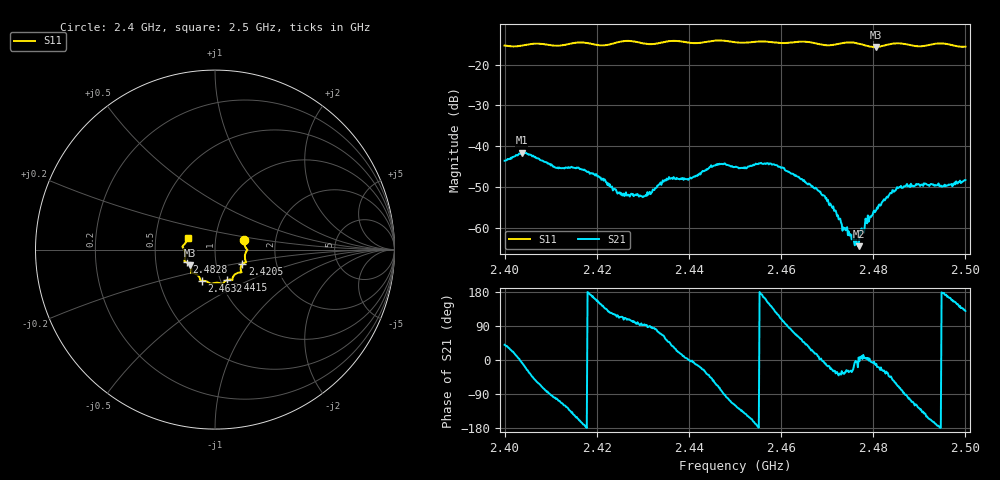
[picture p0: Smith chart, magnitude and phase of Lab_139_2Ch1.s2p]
# Hz S RI R 50
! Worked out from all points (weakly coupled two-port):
!   601 points, 2.4 GHz to 2.5 GHz, reference 50 ohm
!   highest |S21| = -41.63 dB at 2.4037 GHz (marker M1); lowest = -64.5 dB at 2.4768 GHz (marker M2)
!   lowest |S11| = -15.7 dB at 2.4805 GHz (marker M3), VSWR 1.39, Z = 37.3 - j6.68 ohm
!   |S11| at or under -10 dB: start of sweep to end of sweep
!   S12 and S22 are empty: the file has one direction only
!   S11 on the Smith chart (normalised r, x): 2.4 GHz: 1.38, +0.15; 2.4205 GHz: 1.34, -0.22; 2.4415 GHz: 1.07, -0.38; 2.4632 GHz: 0.82, -0.29; 2.4828 GHz: 0.72, -0.10; 2.5 GHz: 0.73, +0.10
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2.4e9  0.1631 0.0515  0.00507 0.00427  0 0  0 0
2.403667e9  0.17 0.0127  0.00824 -0.000877  0 0  0 0
2.411167e9  0.1674 -0.0275  -0.00122 -0.00527  0 0  0 0
2.416667e9  0.173 -0.0696  -0.005 -0.00138  0 0  0 0
2.4205e9  0.1517 -0.0817  -0.00372 0.002  0 0  0 0
2.425667e9  0.1473 -0.1245  -0.000949 0.00231  0 0  0 0
2.430333e9  0.1249 -0.1302  -0.000176 0.00242  0 0  0 0
2.433333e9  0.1006 -0.1518  0.000886 0.00318  0 0  0 0
2.4415e9  0.0654 -0.1707  0.00424 -0.000871  0 0  0 0
2.446333e9  0.0411 -0.1929  0.00219 -0.00564  0 0  0 0
2.45e9  0.0244 -0.1861  -0.00274 -0.00481  0 0  0 0
2.457333e9  -0.0275 -0.1878  -0.00512 0.00306  0 0  0 0
2.463167e9  -0.0731 -0.174  0.00174 0.00405  0 0  0 0
2.466667e9  -0.0818 -0.167  0.00284 0.00142  0 0  0 0
2.469667e9  -0.0961 -0.1435  0.00225 -0.000377  0 0  0 0
2.476333e9  -0.1326 -0.1265  0.00071 -5.74e-05  0 0  0 0
2.476833e9  -0.1316 -0.1237  0.000591 6.95e-05  0 0  0 0
2.4805e9  -0.1389 -0.0872  0.00155 -0.000353  0 0  0 0
2.482833e9  -0.1587 -0.0703  0.00201 -0.00119  0 0  0 0
2.483333e9  -0.1625 -0.0684  0.00185 -0.00164  0 0  0 0
2.487167e9  -0.1685 -0.0543  -9.68e-05 -0.00333  0 0  0 0
2.5e9  -0.1526 0.0644  -0.00243 0.00297  0 0  0 0
